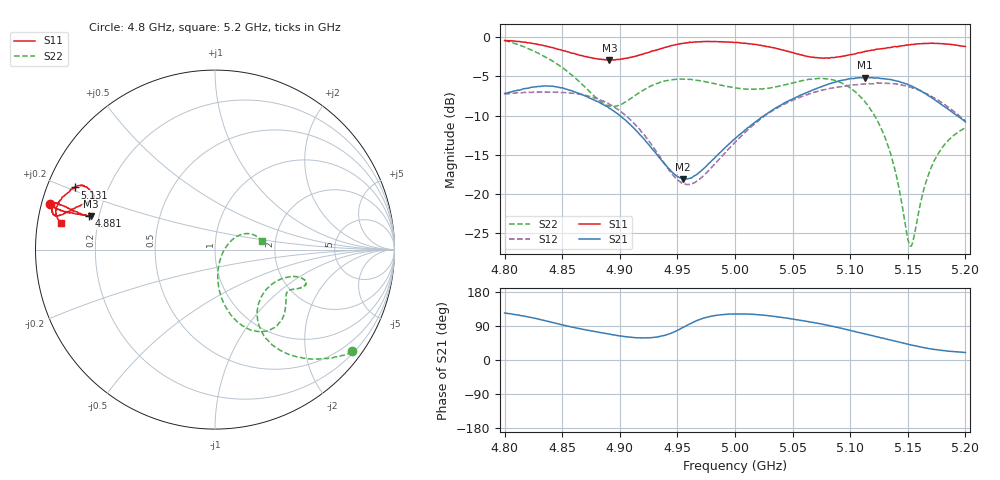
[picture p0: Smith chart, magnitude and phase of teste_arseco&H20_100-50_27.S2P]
! Network Analyzer HP8722D
! Hewlett-Packard
! Data name: Linha & Wilkinson
! Saver's name: Rodrigo Anjos
! Comments: Teste da utilização de aquisição
! continua pelo VNA HP8722D
! Time and date: 6/5/2025 12:47
!  Frequency  S11  S21  S12  S22
# HZ  S  MA R 50
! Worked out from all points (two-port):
!   401 points, 4.8 GHz to 5.2 GHz, reference 50 ohm
!   highest |S21| = -5.14 dB at 5.113 GHz (marker M1); lowest = -18.1 dB at 4.955 GHz (marker M2)
!   |S21| within 3 dB of the highest: start of sweep to 4.879 GHz; 5.046 GHz to 5.175 GHz (128.7 MHz wide, 2.52 % of centre)
!   lowest |S11| = -2.9 dB at 4.891 GHz (marker M3), VSWR 6.03, Z = 8.43 + j6.38 ohm
!   |S11| at or under -10 dB: nowhere
!   |S22| runs from -26.6 to -0.4 dB; largest |S21 - S12| = 0.71
!   S11 on the Smith chart (normalised r, x): 4.8 GHz: 0.02, +0.14; 4.881 GHz: 0.16, +0.13; 5.131 GHz: 0.08, +0.21; 5.2 GHz: 0.07, +0.09
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4.8e9  0.9533 164.4  0.4386 124.0  0.4336 19.0  0.9522 -36.6
4.835e9  0.8798 165.7  0.4895 103.9  0.4484 8.2  0.7511 -52.7
4.867e9  0.7643 165.4  0.4313 81.4  0.431 -5.1  0.5029 -60.1
4.881e9  0.7273 165.1  0.3894 73.7  0.4053 -13.3  0.4019 -53.7
4.891e9  0.7155 165.0  0.352 68.4  0.3734 -19.4  0.3641 -42.5
4.911e9  0.7478 165.1  0.2686 59.7  0.289 -30.4  0.4146 -22.5
4.934e9  0.8389 164.4  0.1719 61.6  0.1773 -32.8  0.5123 -18.3
4.955e9  0.9147 163.8  0.1248 86.0  0.1172 -7.3  0.5413 -20.9
4.969e9  0.935 164.0  0.1378 106.7  0.1241 16.9  0.5293 -23.4
5e9  0.9268 167.3  0.2257 121.5  0.2145 39.8  0.4752 -28.1
5.034e9  0.8558 166.0  0.3495 115.0  0.3457 36.0  0.4802 -34.7
5.067e9  0.7443 158.6  0.46 99.6  0.4421 21.9  0.5415 -47.7
5.09e9  0.75 155.4  0.5269 85.4  0.4825 9.1  0.52 -61.3
5.113e9  0.8134 154.1  0.5536 68.7  0.5038 -4.5  0.386 -75.5
5.131e9  0.8528 156.0  0.5425 55.6  0.5088 -15.9  0.2218 -84.2
5.134e9  0.856 156.6  0.5381 53.5  0.5073 -17.9  0.1915 -84.6
5.141e9  0.8728 158.0  0.5247 48.4  0.502 -22.7  0.1225 -82.3
5.15e9  0.8907 160.3  0.4984 41.6  0.4856 -29.0  0.05191 -48.5
5.153e9  0.8985 160.8  0.4901 39.5  0.4783 -31.0  0.04669 -18.9
5.164e9  0.9114 163.7  0.4426 32.6  0.4453 -37.8  0.1082 29.6
5.172e9  0.9155 165.5  0.406 28.5  0.4139 -42.2  0.1576 30.7
5.2e9  0.872 170.1  0.2883 19.8  0.2923 -52.2  0.2645 10.2
